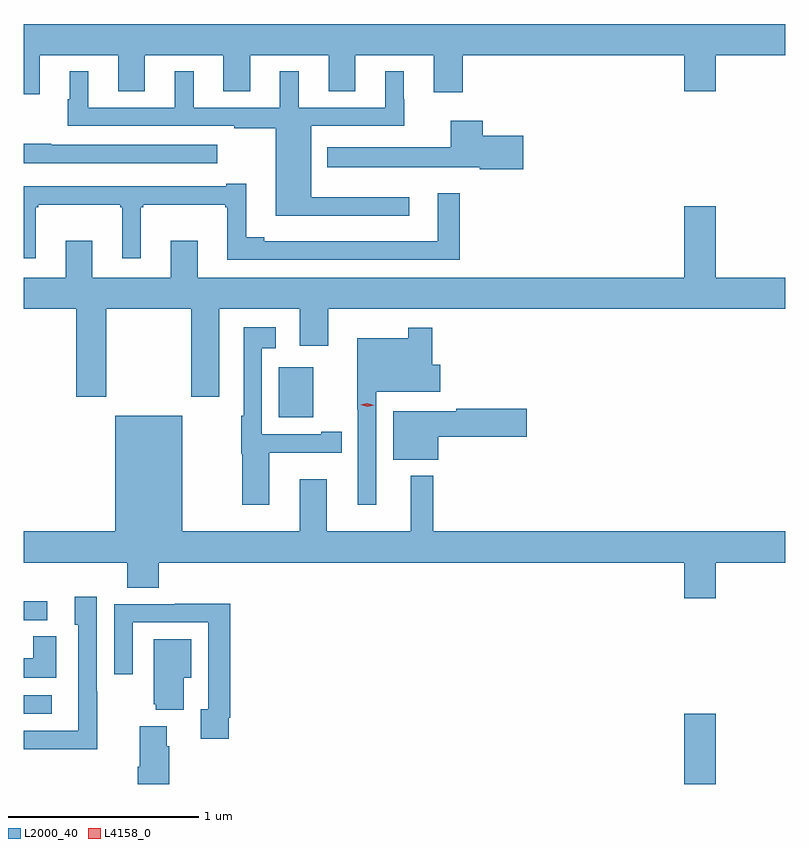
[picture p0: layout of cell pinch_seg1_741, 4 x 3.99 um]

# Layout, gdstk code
import gdstk
lib = gdstk.Library(unit=1e-6, precision=1e-09)
def R(c, l, rs):  # rectangles x0, y0, x1, y1
    for r in rs: c.add(gdstk.rectangle(r[:2], r[2:], *l))
def P(c, l, *ps):  # polygons
    for p in ps: c.add(gdstk.Polygon(p, *l))
L2000_40 = (2000, 40)
L4158_0 = (4158, 0)

pinch_seg1_741 = lib.new_cell('pinch_seg1_741')
R(pinch_seg1_741, L2000_40, [(860.312,511.941,860.476,512.311), (856.842,512.31,856.99,512.406), (856.842,512.802,856.966,512.9), (858.182,513.866,858.364,514.129)])
P(pinch_seg1_741, L2000_40, [(856.927,515.768),(857.339,515.768),(857.339,515.578),(857.479,515.578),(857.479,515.768),(857.891,515.768),(857.891,515.578),(858.031,515.578),(858.031,515.768),(858.443,515.768),(858.443,515.578),(858.583,515.578),(858.583,515.768),(858.995,515.768),(858.995,515.574),(859.148,515.574),(859.148,515.768),(860.312,515.768),(860.312,515.58),(860.476,515.58),(860.476,515.768),(860.842,515.768),(860.842,515.932),(856.842,515.932),(856.842,515.562),(856.927,515.562)],
  [(858.868,515.023),(858.352,515.023),(858.352,515.397),(858.84,515.397),(858.84,515.537),(858.838,515.537),(858.838,515.683),(858.74,515.683),(858.74,515.493),(858.286,515.493),(858.286,515.683),(858.188,515.683),(858.188,515.493),(857.734,515.493),(857.734,515.683),(857.636,515.683),(857.636,515.493),(857.182,515.493),(857.182,515.683),(857.084,515.683),(857.084,515.537),(857.073,515.537),(857.073,515.397),(857.947,515.397),(857.947,515.385),(858.167,515.385),(858.167,514.925),(858.868,514.925)],
  [(859.465,515.346),(859.253,515.346),(859.253,515.425),(859.085,515.425),(859.085,515.284),(858.437,515.284),(858.437,515.18),(859.236,515.18),(859.236,515.168),(859.465,515.168)],
  [(857.86,515.298),(856.988,515.298),(856.988,515.303),(856.842,515.303),(856.842,515.202),(857.86,515.202)],
  [(859.133,515.044),(859.016,515.044),(859.016,514.792),(858.106,514.792),(858.106,514.811),(858.01,514.811),(858.01,515.092),(857.906,515.092),(857.906,515.079),(856.842,515.079),(856.842,514.701),(856.906,514.701),(856.906,514.971),(856.918,514.971),(856.918,514.982),(857.349,514.982),(857.349,514.971),(857.36,514.971),(857.36,514.701),(857.458,514.701),(857.458,514.971),(857.47,514.971),(857.47,514.982),(857.901,514.982),(857.901,514.971),(857.912,514.971),(857.912,514.695),(859.133,514.695)],
  [(857.063,514.6),(856.842,514.6),(856.842,514.436),(857.117,514.436),(857.117,513.975),(857.277,513.975),(857.277,514.436),(857.722,514.436),(857.722,513.975),(857.869,513.975),(857.869,514.436),(858.293,514.436),(858.293,514.242),(858.442,514.242),(858.442,514.436),(860.842,514.436),(860.842,514.6),(860.476,514.6),(860.476,514.975),(860.312,514.975),(860.312,514.6),(857.755,514.6),(857.755,514.795),(857.615,514.795),(857.615,514.6),(857.203,514.6),(857.203,514.795),(857.063,514.795)],
  [(858.133,513.68),(858.512,513.68),(858.512,513.79),(858.404,513.79),(858.404,513.777),(858.093,513.777),(858.093,514.229),(858.166,514.229),(858.166,514.339),(857.997,514.339),(857.997,513.874),(857.985,513.874),(857.985,513.674),(857.989,513.674),(857.989,513.408),(858.133,513.408)],
  [(858.693,514.001),(859.03,514.001),(859.03,514.143),(858.989,514.143),(858.989,514.336),(858.861,514.336),(858.861,514.282),(858.595,514.282),(858.595,513.905),(858.597,513.905),(858.597,513.408),(858.693,513.408)],
  [(859.018,513.764),(859.483,513.764),(859.483,513.911),(859.114,513.911),(859.114,513.898),(858.782,513.898),(858.782,513.644),(859.018,513.644)],
  [(860.476,513.104),(860.842,513.104),(860.842,513.268),(858.992,513.268),(858.992,513.559),(858.875,513.559),(858.875,513.268),(858.433,513.268),(858.433,513.541),(858.293,513.541),(858.293,513.268),(857.674,513.268),(857.674,513.874),(857.324,513.874),(857.324,513.268),(856.842,513.268),(856.842,513.104),(857.387,513.104),(857.387,512.971),(857.552,512.971),(857.552,513.104),(860.312,513.104),(860.312,512.916),(860.476,512.916)],
  [(857.229,512.429),(857.226,512.429),(857.226,512.923),(857.111,512.923),(857.111,512.778),(857.13,512.778),(857.13,512.22),(856.842,512.22),(856.842,512.123),(857.229,512.123)],
  [(857.92,512.29),(857.927,512.29),(857.927,512.888),(857.635,512.888),(857.635,512.886),(857.319,512.886),(857.319,512.517),(857.415,512.517),(857.415,512.79),(857.811,512.79),(857.811,512.334),(857.771,512.334),(857.771,512.178),(857.92,512.178)],
  [(857.014,512.717),(856.893,512.717),(856.893,512.602),(856.842,512.602),(856.842,512.498),(857.014,512.498)],
  [(857.683,512.498),(857.722,512.498),(857.722,512.701),(857.525,512.701),(857.525,512.361),(857.537,512.361),(857.537,512.33),(857.683,512.33)],
  [(857.606,512.138),(857.593,512.138),(857.593,512.245),(857.453,512.245),(857.453,512.032),(857.441,512.032),(857.441,511.941),(857.606,511.941)])
P(pinch_seg1_741, L4158_0, [(858.646,513.921),(858.611,513.932),(858.611,513.932),(858.611,513.932),(858.647,513.941),(858.682,513.93),(858.683,513.929),(858.682,513.929)])

lib.write_gds('pinch_seg1_741.gds')
